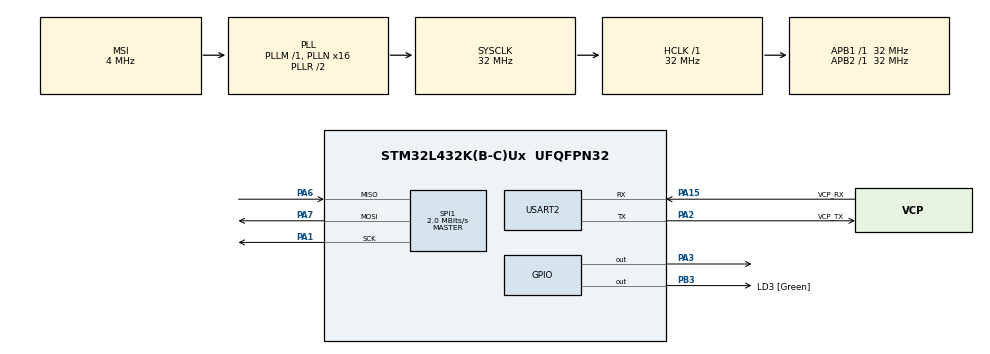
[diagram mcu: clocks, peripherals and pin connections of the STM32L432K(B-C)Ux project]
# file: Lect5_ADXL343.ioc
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Mcu.Family=STM32L4
Mcu.Name=STM32L432K(B-C)Ux
Mcu.Package=UFQFPN32
NVIC.PriorityGroup=NVIC_PRIORITYGROUP_4
PA0.GPIO_Label=MCO [High speed clock in]
PA0.Mode=HSE-External-Clock-Source-for-LittleOrca
PA0.Signal=RCC_CK_IN
PA1.Mode=Full_Duplex_Master
PA1.Signal=SPI1_SCK
PA13\ (JTMS-SWDIO).GPIO_Label=SWDIO
PA13\ (JTMS-SWDIO).Mode=Serial_Wire
PA13\ (JTMS-SWDIO).Signal=SYS_JTMS-SWDIO
PA14\ (JTCK-SWCLK).GPIO_Label=SWCLK
PA14\ (JTCK-SWCLK).Mode=Serial_Wire
PA14\ (JTCK-SWCLK).Signal=SYS_JTCK-SWCLK
PA15\ (JTDI).GPIO_Label=VCP_RX
PA15\ (JTDI).Mode=Asynchronous
PA15\ (JTDI).Signal=USART2_RX
PA2.GPIO_Label=VCP_TX
PA2.Mode=Asynchronous
PA2.Signal=USART2_TX
PA3.Signal=GPIO_Output
PA6.Mode=Full_Duplex_Master
PA6.Signal=SPI1_MISO
PA7.Mode=Full_Duplex_Master
PA7.Signal=SPI1_MOSI
PB3\ (JTDO-TRACESWO).GPIO_Label=LD3 [Green]
PB3\ (JTDO-TRACESWO).Signal=GPIO_Output
PC14-OSC32_IN\ (PC14).Mode=LSE-External-Oscillator
PC14-OSC32_IN\ (PC14).Signal=RCC_OSC32_IN
PC15-OSC32_OUT\ (PC15).Mode=LSE-External-Oscillator
PC15-OSC32_OUT\ (PC15).Signal=RCC_OSC32_OUT
ProjectManager.HeapSize=0x200
ProjectManager.StackSize=0x400
ProjectManager.TargetToolchain=STM32CubeIDE
RCC.AHBFreq_Value=32000000
RCC.APB1Freq_Value=32000000
RCC.APB1TimFreq_Value=32000000
RCC.APB2Freq_Value=32000000
RCC.APB2TimFreq_Value=32000000
RCC.CortexFreq_Value=32000000
RCC.HCLKFreq_Value=32000000
RCC.HSE_VALUE=8000000
RCC.HSI16_VALUE=16000000
RCC.HSI48_VALUE=48000000
RCC.HSI_VALUE=16000000
RCC.MSI_VALUE=4000000
RCC.PLLMUL=RCC_PLLMUL_4
RCC.PLLN=16
RCC.SYSCLKFreq_VALUE=32000000
RCC.SYSCLKSource=RCC_SYSCLKSOURCE_PLLCLK
RCC.VCOOutputFreq_Value=64000000
SPI1.BaudRatePrescaler=SPI_BAUDRATEPRESCALER_16
SPI1.CLKPhase=SPI_PHASE_2EDGE
SPI1.CLKPolarity=SPI_POLARITY_HIGH
SPI1.CalculateBaudRate=2.0 MBits/s
SPI1.DataSize=SPI_DATASIZE_8BIT
SPI1.Direction=SPI_DIRECTION_2LINES
SPI1.Mode=SPI_MODE_MASTER
SPI1.VirtualType=VM_MASTER
USART2.VirtualMode-Asynchronous=VM_ASYNC
board=NUCLEO-L432KC

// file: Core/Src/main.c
/* USER CODE BEGIN Header */
/**
  ******************************************************************************
  * @file           : main.c
  * @brief          : Main program body
  ******************************************************************************
  * @attention
  *
  * <h2><center>&copy; Copyright (c) 2020 STMicroelectronics.
  * All rights reserved.</center></h2>
  *
  * This software component is licensed by ST under BSD 3-Clause license,
  * the "License"; You may not use this file except in compliance with the
  * License. You may obtain a copy of the License at:
  *                        opensource.org/licenses/BSD-3-Clause
  *
  ******************************************************************************
  */
/* USER CODE END Header */
#include "main.h"

/* USER CODE BEGIN Includes */
#include <stdio.h>
#include <string.h>

/* USER CODE END Includes */

SPI_HandleTypeDef hspi1;

UART_HandleTypeDef huart2;

/* USER CODE BEGIN PV */
const float Sensitivity = 0.0039;	// G's/LSB (per ADXL343 Datasheet)

const uint8_t ACC_DEVID = 			0x00;	// Device ID
const uint8_t ACC_THRESH_TAP = 		0x1D;	// Tap threshold
const uint8_t ACC_OFSX = 			0x1E;	// X-axis offset
const uint8_t ACC_OFSY = 			0x1F;	// Y-axis offset
const uint8_t ACC_OFSZ = 			0x20;	// Z-axis offset
const uint8_t ACC_DUR = 			0x21;	// Tap duration
const uint8_t ACC_Latent = 			0x22;	// Tap latency
const uint8_t ACC_Window = 			0x23;	// Tap window
const uint8_t ACC_THRESH_ACT = 		0x24;	// Activity threshold
const uint8_t ACC_THRESH_INACT = 	0x25;	// Inactivity threshold
const uint8_t ACC_TIME_INACT = 		0x26;	// Inactivity time
const uint8_t ACC_ACT_INACT_CTL = 	0x27;	// Axis enable control for activity and inactivity detection
const uint8_t ACC_THRESH_FF = 		0x28;	// Free-fall threshold
const uint8_t ACC_TIME_FF = 		0x29;	// Free-fall time
const uint8_t ACC_TAP_AXES = 		0x2A;	// Axis control for single-tap/double-tap
const uint8_t ACC_ACT_TAP_STATUS = 	0x2B;	// Source of single-tap/double-tap
const uint8_t ACC_BW_RATE = 		0x2C;	// Data rate and power mode control
const uint8_t ACC_POWER_CTL = 		0x2D;	// Power-saving features control
const uint8_t ACC_INT_ENABLE = 		0x2E;	// Interrupt enable control
const uint8_t ACC_INT_MAP =			0x2F;	// Interrupt mapping control
const uint8_t ACC_INT_SOURCE = 		0x30;	// Source of interrupts
const uint8_t ACC_DATA_FORMAT = 	0x31;	// Data format control
const uint8_t ACC_DATAX0 = 			0x32;	// X-axis Data 0
const uint8_t ACC_DATAX1 = 			0x33;	// X-axis Data 1
const uint8_t ACC_DATAY0 = 			0x34;	// Y-axis Data 0
const uint8_t ACC_DATAY1 = 			0x35;	// Y-axis Data 1
const uint8_t ACC_DATAZ0 =			0x36;	// Z-axis Data 0
const uint8_t ACC_DATAZ1 =			0x37;	// Z-axis Data 1
const uint8_t ACC_FIFO_CTL =		0x38;	// FIFO control
const uint8_t ACC_FIFO_STATUS =		0x39;	// FIFO status
/* USER CODE END PV */

void SystemClock_Config(void);
static void MX_GPIO_Init(void);
static void MX_USART2_UART_Init(void);
static void MX_SPI1_Init(void);

int main(void)
{
  /* USER CODE BEGIN 1 */
	char uart_buf[80];
	uint16_t uart_buf_len;
	uint8_t buf;

  /* USER CODE END 1 */

  /* MCU Configuration--------------------------------------------------------*/

  /* Reset of all peripherals, Initializes the Flash interface and the Systick. */
  HAL_Init();

  /* Configure the system clock */
  SystemClock_Config();

  /* Initialize all configured peripherals */
  MX_GPIO_Init();
  MX_USART2_UART_Init();
  MX_SPI1_Init();
  /* USER CODE BEGIN 2 */

  HAL_GPIO_WritePin(GPIOA, GPIO_PIN_3, GPIO_PIN_SET); // Set CS to High
  uart_buf_len = sprintf(uart_buf, "SPI Test...\r\n");
  HAL_UART_Transmit(&huart2, (uint8_t *)uart_buf, uart_buf_len, HAL_MAX_DELAY);

  HAL_GPIO_WritePin(GPIOA, GPIO_PIN_3, GPIO_PIN_RESET); // Set CS to Low
  HAL_SPI_Transmit(&hspi1, (uint8_t *)&ACC_DATA_FORMAT, 1, 100);	// ADXL343 Data Format Register
  buf = 0x0B;	// format +/-16g, 0.003g/LSB
  HAL_SPI_Transmit(&hspi1, &buf, 1, 100);
  HAL_GPIO_WritePin(GPIOA, GPIO_PIN_3, GPIO_PIN_SET); // Set CS to High

  HAL_GPIO_WritePin(GPIOA, GPIO_PIN_3, GPIO_PIN_RESET); // Set CS to Low
  HAL_SPI_Transmit(&hspi1, (uint8_t *)&ACC_POWER_CTL, 1, 100);	// ADXL343 Power Control Register
  buf = 0x08;	// Select measure mode
  HAL_SPI_Transmit(&hspi1, &buf, 1, 100);
  HAL_GPIO_WritePin(GPIOA, GPIO_PIN_3, GPIO_PIN_SET); // Set CS to High

  /* USER CODE END 2 */

  /* Infinite loop */
  /* USER CODE BEGIN WHILE */
  uint8_t buffer[6];
  int16_t data[3];
  float x, y, z;

  while (1)
  {
	  HAL_Delay(200);

	  HAL_GPIO_WritePin(GPIOA, GPIO_PIN_3, GPIO_PIN_RESET); // Set CS to Low
	  buf = 0x80|0x40|ACC_DATAX0;	// R/W bit high:  read, MB (multi-byte) bit high plus starting address of data
	  HAL_SPI_Transmit(&hspi1, &buf, 1, HAL_MAX_DELAY);
	  HAL_SPI_Receive(&hspi1, buffer, 6, 100);
	  HAL_GPIO_WritePin(GPIOA, GPIO_PIN_3, GPIO_PIN_SET); // Set CS to High

	  // Interpret the raw data bytes into meaningful results
	  data[0] = (int16_t) (buffer[1]<<8 | buffer[0]);	// Combine MSB with LSB
	  data[1] = (int16_t) (buffer[3]<<8 | buffer[2]);
	  data[2] = (int16_t) (buffer[5]<<8 | buffer[4]);

	  x = data[0]*Sensitivity;	// X-axis acceleration in G's
	  y = data[1]*Sensitivity;	// Y-axis acceleration in G's
	  z = data[2]*Sensitivity; 	// Z-axis acceleration in G's

	  uart_buf_len = sprintf(uart_buf,"x: %+4.2f g (%+4d), y:  %+4.2f g (%+4d),  z:  %+4.2f g (%+4d)\r\n", x, data[0], y, data[1], z, data[2]);
	  HAL_UART_Transmit(&huart2, (uint8_t *)uart_buf, uart_buf_len, HAL_MAX_DELAY);

    /* USER CODE END WHILE */

  }
}

void SystemClock_Config(void)
{
  RCC_OscInitTypeDef RCC_OscInitStruct = {0};
  RCC_ClkInitTypeDef RCC_ClkInitStruct = {0};
  RCC_PeriphCLKInitTypeDef PeriphClkInit = {0};

  /** Configure LSE Drive Capability
  */
  HAL_PWR_EnableBkUpAccess();
  __HAL_RCC_LSEDRIVE_CONFIG(RCC_LSEDRIVE_LOW);
  /** Initializes the RCC Oscillators according to the specified parameters
  * in the RCC_OscInitTypeDef structure.
  */
  RCC_OscInitStruct.OscillatorType = RCC_OSCILLATORTYPE_LSE|RCC_OSCILLATORTYPE_MSI;
  RCC_OscInitStruct.LSEState = RCC_LSE_ON;
  RCC_OscInitStruct.MSIState = RCC_MSI_ON;
  RCC_OscInitStruct.MSICalibrationValue = 0;
  RCC_OscInitStruct.MSIClockRange = RCC_MSIRANGE_6;
  RCC_OscInitStruct.PLL.PLLState = RCC_PLL_ON;
  RCC_OscInitStruct.PLL.PLLSource = RCC_PLLSOURCE_MSI;
  RCC_OscInitStruct.PLL.PLLM = 1;
  RCC_OscInitStruct.PLL.PLLN = 16;
  RCC_OscInitStruct.PLL.PLLP = RCC_PLLP_DIV7;
  RCC_OscInitStruct.PLL.PLLQ = RCC_PLLQ_DIV2;
  RCC_OscInitStruct.PLL.PLLR = RCC_PLLR_DIV2;
  if (HAL_RCC_OscConfig(&RCC_OscInitStruct) != HAL_OK)
  {
    Error_Handler();
  }
  /** Initializes the CPU, AHB and APB buses clocks
  */
  RCC_ClkInitStruct.ClockType = RCC_CLOCKTYPE_HCLK|RCC_CLOCKTYPE_SYSCLK
                              |RCC_CLOCKTYPE_PCLK1|RCC_CLOCKTYPE_PCLK2;
  RCC_ClkInitStruct.SYSCLKSource = RCC_SYSCLKSOURCE_PLLCLK;
  RCC_ClkInitStruct.AHBCLKDivider = RCC_SYSCLK_DIV1;
  RCC_ClkInitStruct.APB1CLKDivider = RCC_HCLK_DIV1;
  RCC_ClkInitStruct.APB2CLKDivider = RCC_HCLK_DIV1;

  if (HAL_RCC_ClockConfig(&RCC_ClkInitStruct, FLASH_LATENCY_1) != HAL_OK)
  {
    Error_Handler();
  }
  PeriphClkInit.PeriphClockSelection = RCC_PERIPHCLK_USART2;
  PeriphClkInit.Usart2ClockSelection = RCC_USART2CLKSOURCE_PCLK1;
  if (HAL_RCCEx_PeriphCLKConfig(&PeriphClkInit) != HAL_OK)
  {
    Error_Handler();
  }
  /** Configure the main internal regulator output voltage
  */
  if (HAL_PWREx_ControlVoltageScaling(PWR_REGULATOR_VOLTAGE_SCALE1) != HAL_OK)
  {
    Error_Handler();
  }
  /** Enable MSI Auto calibration
  */
  HAL_RCCEx_EnableMSIPLLMode();
}

static void MX_SPI1_Init(void)
{

  /* SPI1 parameter configuration*/
  hspi1.Instance = SPI1;
  hspi1.Init.Mode = SPI_MODE_MASTER;
  hspi1.Init.Direction = SPI_DIRECTION_2LINES;
  hspi1.Init.DataSize = SPI_DATASIZE_8BIT;
  hspi1.Init.CLKPolarity = SPI_POLARITY_HIGH;
  hspi1.Init.CLKPhase = SPI_PHASE_2EDGE;
  hspi1.Init.NSS = SPI_NSS_SOFT;
  hspi1.Init.BaudRatePrescaler = SPI_BAUDRATEPRESCALER_16;
  hspi1.Init.FirstBit = SPI_FIRSTBIT_MSB;
  hspi1.Init.TIMode = SPI_TIMODE_DISABLE;
  hspi1.Init.CRCCalculation = SPI_CRCCALCULATION_DISABLE;
  hspi1.Init.CRCPolynomial = 7;
  hspi1.Init.CRCLength = SPI_CRC_LENGTH_DATASIZE;
  hspi1.Init.NSSPMode = SPI_NSS_PULSE_DISABLE;
  if (HAL_SPI_Init(&hspi1) != HAL_OK)
  {
    Error_Handler();
  }

}

static void MX_USART2_UART_Init(void)
{

  huart2.Instance = USART2;
  huart2.Init.BaudRate = 115200;
  huart2.Init.WordLength = UART_WORDLENGTH_8B;
  huart2.Init.StopBits = UART_STOPBITS_1;
  huart2.Init.Parity = UART_PARITY_NONE;
  huart2.Init.Mode = UART_MODE_TX_RX;
  huart2.Init.HwFlowCtl = UART_HWCONTROL_NONE;
  huart2.Init.OverSampling = UART_OVERSAMPLING_16;
  huart2.Init.OneBitSampling = UART_ONE_BIT_SAMPLE_DISABLE;
  huart2.AdvancedInit.AdvFeatureInit = UART_ADVFEATURE_NO_INIT;
  if (HAL_UART_Init(&huart2) != HAL_OK)
  {
    Error_Handler();
  }

}

static void MX_GPIO_Init(void)
{
  GPIO_InitTypeDef GPIO_InitStruct = {0};

  /* GPIO Ports Clock Enable */
  __HAL_RCC_GPIOC_CLK_ENABLE();
  __HAL_RCC_GPIOA_CLK_ENABLE();
  __HAL_RCC_GPIOB_CLK_ENABLE();

  /*Configure GPIO pin Output Level */
  HAL_GPIO_WritePin(GPIOA, GPIO_PIN_3, GPIO_PIN_RESET);

  /*Configure GPIO pin Output Level */
  HAL_GPIO_WritePin(LD3_GPIO_Port, LD3_Pin, GPIO_PIN_RESET);

  /*Configure GPIO pin : PA3 */
  GPIO_InitStruct.Pin = GPIO_PIN_3;
  GPIO_InitStruct.Mode = GPIO_MODE_OUTPUT_PP;
  GPIO_InitStruct.Pull = GPIO_NOPULL;
  GPIO_InitStruct.Speed = GPIO_SPEED_FREQ_LOW;
  HAL_GPIO_Init(GPIOA, &GPIO_InitStruct);

  /*Configure GPIO pin : LD3_Pin */
  GPIO_InitStruct.Pin = LD3_Pin;
  GPIO_InitStruct.Mode = GPIO_MODE_OUTPUT_PP;
  GPIO_InitStruct.Pull = GPIO_NOPULL;
  GPIO_InitStruct.Speed = GPIO_SPEED_FREQ_LOW;
  HAL_GPIO_Init(LD3_GPIO_Port, &GPIO_InitStruct);

}

void Error_Handler(void)
{
}

/************************ (C) COPYRIGHT STMicroelectronics *****END OF FILE****/
